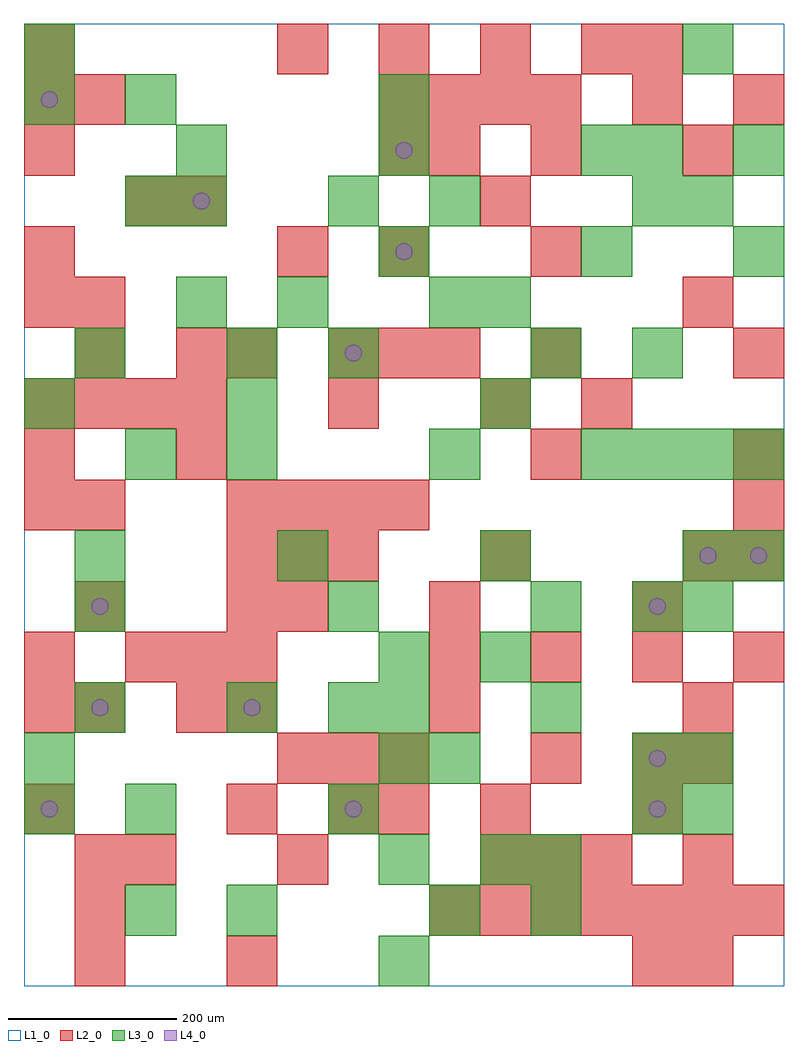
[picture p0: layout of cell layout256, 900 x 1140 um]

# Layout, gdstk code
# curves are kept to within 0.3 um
import gdstk
lib = gdstk.Library(unit=1e-6, precision=1e-09)
def R(c, l, rs):  # rectangles x0, y0, x1, y1
    for r in rs: c.add(gdstk.rectangle(r[:2], r[2:], *l))
def A(c, l, x, y, w, h, nx, ny, dx, dy):  # array of equal rectangles
    R(c, l, [(x+i*dx, y+j*dy, x+i*dx+w, y+j*dy+h) for i in range(nx) for j in range(ny)])
def P(c, l, *ps):  # polygons
    for p in ps: c.add(gdstk.Polygon(p, *l))
L1_0 = (1, 0)
L2_0 = (2, 0)
L3_0 = (3, 0)
L4_0 = (4, 0)

layout256 = lib.new_cell('layout256')
R(layout256, L1_0, [(0,0,900,1140)])
A(layout256, L2_0, 60, 0, 60, 60, 1, 3, 0, 60)
A(layout256, L2_0, 780, 0, 60, 60, 1, 3, 0, 120)
A(layout256, L2_0, 480, 60, 60, 60, 7, 1, 60, 0)
A(layout256, L2_0, 540, 120, 60, 60, 3, 1, 60, 0)
A(layout256, L2_0, 240, 180, 60, 60, 1, 3, 0, 120)
A(layout256, L2_0, 300, 240, 60, 60, 3, 1, 60, 0)
A(layout256, L2_0, 60, 300, 60, 60, 1, 3, 0, 120)
A(layout256, L2_0, 120, 360, 60, 60, 3, 1, 60, 0)
A(layout256, L2_0, 480, 360, 60, 60, 4, 1, 120, 0)
A(layout256, L2_0, 240, 480, 60, 60, 3, 1, 60, 0)
A(layout256, L2_0, 840, 480, 60, 60, 1, 3, 0, 60)
A(layout256, L2_0, 240, 540, 60, 60, 4, 1, 60, 0)
A(layout256, L2_0, 600, 600, 60, 60, 1, 4, 0, 120)
A(layout256, L2_0, 0, 660, 60, 60, 4, 1, 60, 0)
A(layout256, L2_0, 360, 720, 60, 60, 3, 1, 60, 0)
A(layout256, L2_0, 0, 960, 60, 60, 1, 3, 0, 60)
A(layout256, L2_0, 420, 1020, 60, 60, 4, 1, 60, 0)
A(layout256, L2_0, 300, 1080, 60, 60, 4, 1, 120, 0)
R(layout256, L2_0, [(240,0,300,60), (720,0,780,60), (120,120,180,180), (300,120,360,180), (0,180,60,240), (360,180,420,240), (420,180,480,240), (540,180,600,240), (720,180,780,240), (600,240,660,300), (720,240,780,300), (0,300,60,360), (180,300,240,360), (480,300,540,360), (780,300,840,360), (0,360,60,420), (300,420,360,480), (480,420,540,480), (720,420,780,480), (540,480,600,540), (780,480,840,540), (0,540,60,600), (0,600,60,660), (180,600,240,660), (360,660,420,720), (540,660,600,720), (660,660,720,720), (60,720,120,780), (180,720,240,780), (240,720,300,780), (840,720,900,780), (0,780,60,840), (60,780,120,840), (780,780,840,840), (0,840,60,900), (300,840,360,900), (420,840,480,900), (120,900,180,960), (180,900,240,960), (540,900,600,960), (420,960,480,1020), (480,960,540,1020), (780,960,840,1020), (60,1020,120,1080), (720,1020,780,1080), (840,1020,900,1080), (720,1080,780,1140)])
A(layout256, L3_0, 420, 0, 60, 60, 1, 3, 0, 120)
A(layout256, L3_0, 360, 180, 60, 60, 1, 3, 0, 120)
A(layout256, L3_0, 60, 480, 60, 60, 4, 1, 240, 0)
A(layout256, L3_0, 240, 600, 60, 60, 1, 3, 0, 60)
A(layout256, L3_0, 660, 600, 60, 60, 4, 1, 60, 0)
A(layout256, L3_0, 180, 960, 60, 60, 3, 1, 240, 0)
R(layout256, L3_0, [(120,60,180,120), (240,60,300,120), (480,60,540,120), (600,60,660,120), (540,120,600,180), (600,120,660,180), (0,180,60,240), (120,180,180,240), (720,180,780,240), (780,180,840,240), (0,240,60,300), (480,240,540,300), (720,240,780,300), (780,240,840,300), (60,300,120,360), (240,300,300,360), (420,300,480,360), (600,300,660,360), (420,360,480,420), (540,360,600,420), (60,420,120,480), (600,420,660,480), (720,420,780,480), (780,420,840,480), (840,480,900,540), (120,600,180,660), (480,600,540,660), (0,660,60,720), (540,660,600,720), (60,720,120,780), (360,720,420,780), (600,720,660,780), (720,720,780,780), (180,780,240,840), (300,780,360,840), (480,780,540,840), (540,780,600,840), (420,840,480,900), (660,840,720,900), (840,840,900,900), (120,900,180,960), (180,900,240,960), (360,900,420,960), (480,900,540,960), (720,900,780,960), (780,900,840,960), (720,960,780,1020), (840,960,900,1020), (0,1020,60,1080), (120,1020,180,1080), (420,1020,480,1080), (0,1080,60,1140), (780,1080,840,1140)])
P(layout256, L4_0, [(40,210),(39.239,213.827),(37.071,217.071),(33.827,219.239),(30,220),(26.173,219.239),(22.929,217.071),(20.761,213.827),(20,210),(20.761,206.173),(22.929,202.929),(26.173,200.761),(30,200),(33.827,200.761),(37.071,202.929),(39.239,206.173)],
  [(40,1050),(39.239,1053.827),(37.071,1057.071),(33.827,1059.239),(30,1060),(26.173,1059.239),(22.929,1057.071),(20.761,1053.827),(20,1050),(20.761,1046.173),(22.929,1042.929),(26.173,1040.761),(30,1040),(33.827,1040.761),(37.071,1042.929),(39.239,1046.173)],
  [(100,330),(99.239,333.827),(97.071,337.071),(93.827,339.239),(90,340),(86.173,339.239),(82.929,337.071),(80.761,333.827),(80,330),(80.761,326.173),(82.929,322.929),(86.173,320.761),(90,320),(93.827,320.761),(97.071,322.929),(99.239,326.173)],
  [(100,450),(99.239,453.827),(97.071,457.071),(93.827,459.239),(90,460),(86.173,459.239),(82.929,457.071),(80.761,453.827),(80,450),(80.761,446.173),(82.929,442.929),(86.173,440.761),(90,440),(93.827,440.761),(97.071,442.929),(99.239,446.173)],
  [(220,930),(219.239,933.827),(217.071,937.071),(213.827,939.239),(210,940),(206.173,939.239),(202.929,937.071),(200.761,933.827),(200,930),(200.761,926.173),(202.929,922.929),(206.173,920.761),(210,920),(213.827,920.761),(217.071,922.929),(219.239,926.173)],
  [(280,330),(279.239,333.827),(277.071,337.071),(273.827,339.239),(270,340),(266.173,339.239),(262.929,337.071),(260.761,333.827),(260,330),(260.761,326.173),(262.929,322.929),(266.173,320.761),(270,320),(273.827,320.761),(277.071,322.929),(279.239,326.173)],
  [(400,210),(399.239,213.827),(397.071,217.071),(393.827,219.239),(390,220),(386.173,219.239),(382.929,217.071),(380.761,213.827),(380,210),(380.761,206.173),(382.929,202.929),(386.173,200.761),(390,200),(393.827,200.761),(397.071,202.929),(399.239,206.173)],
  [(400,750),(399.239,753.827),(397.071,757.071),(393.827,759.239),(390,760),(386.173,759.239),(382.929,757.071),(380.761,753.827),(380,750),(380.761,746.173),(382.929,742.929),(386.173,740.761),(390,740),(393.827,740.761),(397.071,742.929),(399.239,746.173)],
  [(460,870),(459.239,873.827),(457.071,877.071),(453.827,879.239),(450,880),(446.173,879.239),(442.929,877.071),(440.761,873.827),(440,870),(440.761,866.173),(442.929,862.929),(446.173,860.761),(450,860),(453.827,860.761),(457.071,862.929),(459.239,866.173)],
  [(460,990),(459.239,993.827),(457.071,997.071),(453.827,999.239),(450,1000),(446.173,999.239),(442.929,997.071),(440.761,993.827),(440,990),(440.761,986.173),(442.929,982.929),(446.173,980.761),(450,980),(453.827,980.761),(457.071,982.929),(459.239,986.173)],
  [(760,210),(759.239,213.827),(757.071,217.071),(753.827,219.239),(750,220),(746.173,219.239),(742.929,217.071),(740.761,213.827),(740,210),(740.761,206.173),(742.929,202.929),(746.173,200.761),(750,200),(753.827,200.761),(757.071,202.929),(759.239,206.173)],
  [(760,270),(759.239,273.827),(757.071,277.071),(753.827,279.239),(750,280),(746.173,279.239),(742.929,277.071),(740.761,273.827),(740,270),(740.761,266.173),(742.929,262.929),(746.173,260.761),(750,260),(753.827,260.761),(757.071,262.929),(759.239,266.173)],
  [(760,450),(759.239,453.827),(757.071,457.071),(753.827,459.239),(750,460),(746.173,459.239),(742.929,457.071),(740.761,453.827),(740,450),(740.761,446.173),(742.929,442.929),(746.173,440.761),(750,440),(753.827,440.761),(757.071,442.929),(759.239,446.173)],
  [(820,510),(819.239,513.827),(817.071,517.071),(813.827,519.239),(810,520),(806.173,519.239),(802.929,517.071),(800.761,513.827),(800,510),(800.761,506.173),(802.929,502.929),(806.173,500.761),(810,500),(813.827,500.761),(817.071,502.929),(819.239,506.173)],
  [(880,510),(879.239,513.827),(877.071,517.071),(873.827,519.239),(870,520),(866.173,519.239),(862.929,517.071),(860.761,513.827),(860,510),(860.761,506.173),(862.929,502.929),(866.173,500.761),(870,500),(873.827,500.761),(877.071,502.929),(879.239,506.173)])

lib.write_gds('layout256.gds')
